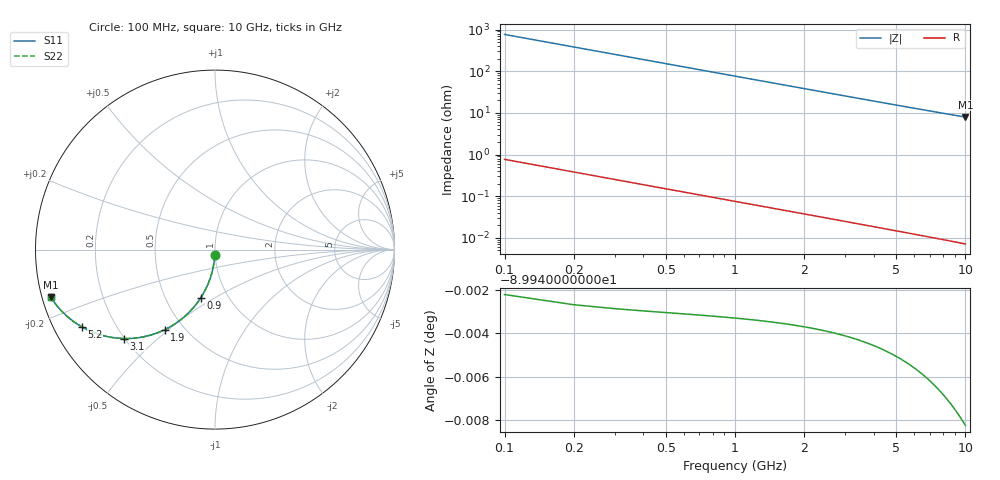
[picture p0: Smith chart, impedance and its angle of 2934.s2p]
# Hz S RI R 50.00
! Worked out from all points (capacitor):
!   100 points, 100 MHz to 10 GHz, reference 50 ohm
!   read as one part in shunt: C = 2.09 pF near 100 MHz
!   lowest |Z| = 7.95 ohm at 10 GHz (marker M1)
!   S11 on the Smith chart (normalised r, x): 100 MHz: 1.00, -0.07; 900 MHz: 0.74, -0.44; 1.9 GHz: 0.39, -0.49; 3.1 GHz: 0.20, -0.39; 5.2 GHz: 0.08, -0.27; 10 GHz: 0.02, -0.14
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1e8  -0.00108 -0.0326  0.9989 -0.0329  0.9989 -0.0329  -0.00108 -0.0326
2e8  -0.00432 -0.065  0.9956 -0.0655  0.9956 -0.0655  -0.00432 -0.065
3e8  -0.00965 -0.097  0.9903 -0.0978  0.9903 -0.0978  -0.00965 -0.097
4e8  -0.017 -0.1284  0.9829 -0.1294  0.9829 -0.1294  -0.017 -0.1284
5e8  -0.0263 -0.1589  0.9737 -0.1602  0.9737 -0.1602  -0.0263 -0.1589
6e8  -0.0374 -0.1885  0.9626 -0.19  0.9626 -0.19  -0.0374 -0.1885
7e8  -0.0502 -0.217  0.9498 -0.2187  0.9498 -0.2187  -0.0502 -0.217
9e8  -0.0802 -0.2701  0.9197 -0.2723  0.9197 -0.2723  -0.0802 -0.2701
1.1e9  -0.1152 -0.3174  0.8848 -0.3201  0.8848 -0.3201  -0.1152 -0.3174
1.3e9  -0.1537 -0.3586  0.8462 -0.3618  0.8462 -0.3618  -0.1537 -0.3586
1.5e9  -0.1946 -0.3936  0.8053 -0.3973  0.8053 -0.3973  -0.1946 -0.3936
1.8e9  -0.258 -0.4348  0.742 -0.4393  0.742 -0.4393  -0.258 -0.4348
1.9e9  -0.2792 -0.4457  0.7208 -0.4505  0.7208 -0.4505  -0.2792 -0.4457
2.5e9  -0.401 -0.4865  0.599 -0.4927  0.599 -0.4927  -0.401 -0.4865
3.1e9  -0.5068 -0.4955  0.4931 -0.5034  0.4931 -0.5034  -0.5068 -0.4955
3.4e9  -0.5527 -0.4924  0.4473 -0.501  0.4473 -0.501  -0.5527 -0.4924
4.2e9  -0.6531 -0.4701  0.3468 -0.4808  0.3468 -0.4808  -0.6531 -0.4701
5.1e9  -0.735 -0.4343  0.2649 -0.4473  0.2649 -0.4473  -0.735 -0.4343
5.2e9  -0.7424 -0.4301  0.2574 -0.4434  0.2574 -0.4434  -0.7424 -0.4301
6.7e9  -0.8271 -0.3689  0.1727 -0.3862  0.1727 -0.3862  -0.8271 -0.3689
8.4e9  -0.8828 -0.31  0.1169 -0.332  0.1169 -0.332  -0.8828 -0.31
1e10  -0.9146 -0.2654  0.085 -0.2919  0.085 -0.2919  -0.9146 -0.2654
